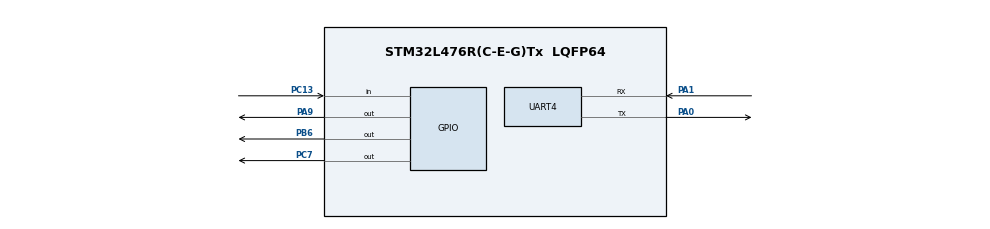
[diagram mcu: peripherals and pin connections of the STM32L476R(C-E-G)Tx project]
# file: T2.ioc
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Mcu.Family=STM32L4
Mcu.Name=STM32L476R(C-E-G)Tx
Mcu.Package=LQFP64
NVIC.PriorityGroup=NVIC_PRIORITYGROUP_4
NVIC.TIM2_IRQn=true\:0\:0\:false\:false\:true
NVIC.UART4_IRQn=true\:0\:0\:false\:false\:true
PA0.Mode=Asynchronous
PA0.Signal=UART4_TX
PA1.Mode=Asynchronous
PA1.Signal=UART4_RX
PA9.Signal=GPIO_Output
PB6.Signal=GPIO_Output
PC13.Signal=GPIO_Input
PC7.Signal=GPIO_Output
ProjectManager.HeapSize=0x200
ProjectManager.StackSize=0x400
ProjectManager.TargetToolchain=SW4STM32
RCC.HSE_VALUE=8000000
RCC.HSI_VALUE=16000000
RCC.LSE_VALUE=32768
RCC.MSI_VALUE=4000000
RCC.VCOOutputFreq_Value=32000000
TIM2.Period=499
TIM2.Prescaler=48000
UART4.WordLength=UART_WORDLENGTH_8B
VP_TIM2_VS_ClockSourceINT.Mode=Internal
board=T2

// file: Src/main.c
/**
  ******************************************************************************
  * File Name          : main.c
  * Description        : Main program body
  ******************************************************************************
  *
  * COPYRIGHT(c) 2016 STMicroelectronics
  *
  * Redistribution and use in source and binary forms, with or without modification,
  * are permitted provided that the following conditions are met:
  *   1. Redistributions of source code must retain the above copyright notice,
  *      this list of conditions and the following disclaimer.
  *   2. Redistributions in binary form must reproduce the above copyright notice,
  *      this list of conditions and the following disclaimer in the documentation
  *      and/or other materials provided with the distribution.
  *   3. Neither the name of STMicroelectronics nor the names of its contributors
  *      may be used to endorse or promote products derived from this software
  *      without specific prior written permission.
  *
  * THIS SOFTWARE IS PROVIDED BY THE COPYRIGHT HOLDERS AND CONTRIBUTORS "AS IS"
  * AND ANY EXPRESS OR IMPLIED WARRANTIES, INCLUDING, BUT NOT LIMITED TO, THE
  * IMPLIED WARRANTIES OF MERCHANTABILITY AND FITNESS FOR A PARTICULAR PURPOSE ARE
  * DISCLAIMED. IN NO EVENT SHALL THE COPYRIGHT HOLDER OR CONTRIBUTORS BE LIABLE
  * FOR ANY DIRECT, INDIRECT, INCIDENTAL, SPECIAL, EXEMPLARY, OR CONSEQUENTIAL
  * DAMAGES (INCLUDING, BUT NOT LIMITED TO, PROCUREMENT OF SUBSTITUTE GOODS OR
  * SERVICES; LOSS OF USE, DATA, OR PROFITS; OR BUSINESS INTERRUPTION) HOWEVER
  * CAUSED AND ON ANY THEORY OF LIABILITY, WHETHER IN CONTRACT, STRICT LIABILITY,
  * OR TORT (INCLUDING NEGLIGENCE OR OTHERWISE) ARISING IN ANY WAY OUT OF THE USE
  * OF THIS SOFTWARE, EVEN IF ADVISED OF THE POSSIBILITY OF SUCH DAMAGE.
  *
  ******************************************************************************
  */
#include "stm32l4xx_hal.h"
#include "tim.h"
#include "usart.h"
#include "gpio.h"

/* USER CODE BEGIN Includes */
#include "stdio.h"
/*
#ifdef __GNUC__
 #define PUTCHAR_PROTOTYPE int __io_putchar(int ch)
#else
 #define PUTCHAR_PROTOTYPE int fputc(int ch,FILE *f)
#endif
*/
#include "sst.h"
#include "mytask.h"
#include "sst_stdsignal.h"
#include "ioPort.h"
#include "semaphore.h"
#include "mailbox.h"
#include "queue.h"

#include "stddef.h"
//#include "stm32l4xx_hal_gpio.h"

/* USER CODE END Includes */

/* USER CODE BEGIN PV */
/* Private variables ---------------------------------------------------------*/

/* USER CODE END PV */

void SystemClock_Config(void);
void Error_Handler(void);

/* USER CODE BEGIN PFP */
/* Private function prototypes -----------------------------------------------*/

/* USER CODE END PFP */

/* USER CODE BEGIN 0 */
char send[20] = {0};
uint8_t receive1;
uint8_t trans1 = 0;
uint8_t Rx1 = 0;
void HAL_UART_RxCpltCallback(UART_HandleTypeDef *huart);
void HAL_GPIO_WritePin(GPIO_TypeDef* GPIOx, uint16_t GPIO_Pin, GPIO_PinState PinState);
/* USER CODE END 0 */

int main(void)
{

  /* MCU Configuration----------------------------------------------------------*/

  /* Reset of all peripherals, Initializes the Flash interface and the Systick. */
  HAL_Init();

  /* Configure the system clock */
  SystemClock_Config();

  /* Initialize all configured peripherals */
  MX_GPIO_Init();
  MX_TIM2_Init();
  SystemClock_Config();
  MX_UART4_Init();

  /* USER CODE BEGIN 2 */

  HAL_UART_Receive_IT(&huart4, (uint8_t * )&receive1, 1);
  printf("TESTE da USART AGORA FFOI\n");

  Semaphore s = ConstructSemaphore(3);
  Queue q = ConstructQueue(3,2);
  MailBox mb = ConstructMailBox();

  //SST_init();
  //SST_init(); //optional
  //SST_task(&myTask, myTask_ID,  myTask_EQ,  myTask_EVQL,  SST_SIGNAL_TASKINIT, 0,&s,NULL,NULL);
  SST_task(&myTask2,myTask2_ID, myTask2_EQ, myTask2_EVQL, SST_SIGNAL_TASKINIT, 0,&s,NULL,NULL);
  SST_task(&myTask3,myTask3_ID, myTask3_EQ, myTask3_EVQL, SST_SIGNAL_TASKINIT, 0,NULL,&mb,NULL);
  SST_task(&myTask4,myTask4_ID, myTask4_EQ, myTask4_EVQL, SST_SIGNAL_TASKINIT, 0,NULL,&mb,NULL);
  SST_task(&myTask5,myTask5_ID, myTask5_EQ, myTask5_EVQL, SST_SIGNAL_TASKINIT, 0,NULL,NULL,&q);
  SST_task(&myTask6,myTask6_ID, myTask6_EQ, myTask6_EVQL, SST_SIGNAL_TASKINIT, 0,NULL,NULL,&q);
SST_task(&myTask, myTask_ID,  myTask_EQ,  myTask_EVQL,  SST_SIGNAL_TASKINIT, 0,&s,NULL,NULL);

HAL_UART_Transmit(&huart4, (uint8_t *)"A\n\r", 3, 10000);

  //SST_run();

 //HAL_GPIO_WritePin(GPIOC, GPIO_PIN_7, GPIO_PIN_RESET);

  /* USER CODE END 2 */

  /* Infinite loop */
  while (1)
  {

  /* USER CODE BEGIN 3 */
// HAL_GPIO_WritePin(GPIOC, GPIO_PIN_7,GPIO_PIN_SET);
 //     HAL_Delay(2000);
 // HAL_GPIO_WritePin(GPIOC, GPIO_PIN_7, GPIO_PIN_RESET);

   //   HAL_Delay(2000);

  }
  /* USER CODE END 3 */

}

/** System Clock Configuration
*/
void SystemClock_Config(void)
{

  RCC_OscInitTypeDef RCC_OscInitStruct;
  RCC_ClkInitTypeDef RCC_ClkInitStruct;
  RCC_PeriphCLKInitTypeDef PeriphClkInit;

  RCC_OscInitStruct.OscillatorType = RCC_OSCILLATORTYPE_MSI;
  RCC_OscInitStruct.MSIState = RCC_MSI_ON;
  RCC_OscInitStruct.MSICalibrationValue = 0;
  RCC_OscInitStruct.MSIClockRange = RCC_MSIRANGE_6;
  RCC_OscInitStruct.PLL.PLLState = RCC_PLL_NONE;
  if (HAL_RCC_OscConfig(&RCC_OscInitStruct) != HAL_OK)
  {
    Error_Handler();
  }

  RCC_ClkInitStruct.ClockType = RCC_CLOCKTYPE_HCLK|RCC_CLOCKTYPE_SYSCLK
                              |RCC_CLOCKTYPE_PCLK1|RCC_CLOCKTYPE_PCLK2;
  RCC_ClkInitStruct.SYSCLKSource = RCC_SYSCLKSOURCE_MSI;
  RCC_ClkInitStruct.AHBCLKDivider = RCC_SYSCLK_DIV1;
  RCC_ClkInitStruct.APB1CLKDivider = RCC_HCLK_DIV1;
  RCC_ClkInitStruct.APB2CLKDivider = RCC_HCLK_DIV1;
  if (HAL_RCC_ClockConfig(&RCC_ClkInitStruct, FLASH_LATENCY_0) != HAL_OK)
  {
    Error_Handler();
  }

  PeriphClkInit.PeriphClockSelection = RCC_PERIPHCLK_UART4;
  PeriphClkInit.Uart4ClockSelection = RCC_UART4CLKSOURCE_PCLK1;
  if (HAL_RCCEx_PeriphCLKConfig(&PeriphClkInit) != HAL_OK)
  {
    Error_Handler();
  }

  __HAL_RCC_PWR_CLK_ENABLE();

  if (HAL_PWREx_ControlVoltageScaling(PWR_REGULATOR_VOLTAGE_SCALE1) != HAL_OK)
  {
    Error_Handler();
  }

  HAL_SYSTICK_Config(HAL_RCC_GetHCLKFreq()/1000);

  HAL_SYSTICK_CLKSourceConfig(SYSTICK_CLKSOURCE_HCLK);

  /* SysTick_IRQn interrupt configuration */
  HAL_NVIC_SetPriority(SysTick_IRQn, 0, 0);
}

/* USER CODE BEGIN 4 */

void HAL_UART_RxCpltCallback(UART_HandleTypeDef *huart)
{
  HAL_UART_Receive_IT(&huart4, (uint8_t * )&receive1, 1);
  sprintf(send, "HelloWorld %d",Rx1);
  HAL_UART_Transmit(&huart4, (uint8_t *)send, 20, 10000);
  HAL_UART_Transmit(&huart4, (uint8_t *)"\n\r", 2, 10000);
  Rx1++;
  if(receive1 == 0x31){
    HAL_UART_Transmit(&huart4, (uint8_t *)"TASK01\n\r", 8, 10000);
    SST_post(myTask_ID,SST_SIGNAL_TASKINIT,0);
  }
}

/* USER CODE END 4 */

void Error_Handler(void)
{
  while(1)
  {
  }
}

/************************ (C) COPYRIGHT STMicroelectronics *****END OF FILE****/
